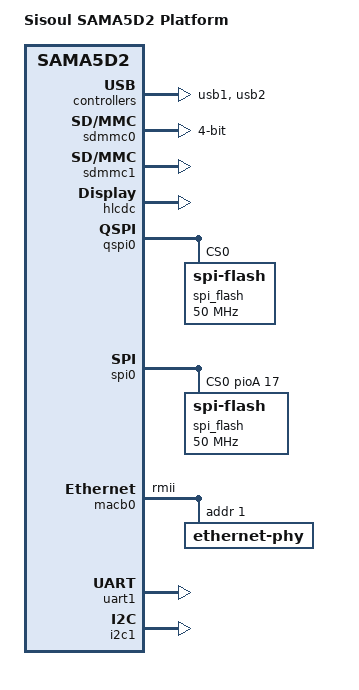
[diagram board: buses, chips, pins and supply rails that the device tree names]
/dts-v1/;
#include "sama5d2.dtsi"
#include "sama5d2-pinfunc.h"

/ {
	model = "Sisoul SAMA5D2 Platform";
	compatible = "sisoul,sama5d2-platform", "atmel,sama5d2", "atmel,sama5";

	chosen {
		u-boot,dm-pre-reloc;
		stdout-path = &uart1;
	};

	ahb {
		usb1: ohci@00400000 {
			num-ports = <3>;
			atmel,vbus-gpio = <&pioA 22 0>;
			pinctrl-names = "default";
			pinctrl-0 = <&pinctrl_usb_default>;
			status = "okay";
		};

		usb2: ehci@00500000 {
			status = "okay";
		};

		sdmmc0: sdio-host@a0000000 {
			bus-width = <4>;
			pinctrl-names = "default";
			pinctrl-0 = <&pinctrl_sdmmc0_cmd_dat_default &pinctrl_sdmmc0_ck_cd_default>;
			status = "okay";
			u-boot,dm-pre-reloc;
		};

		sdmmc1: sdio-host@b0000000 {
			status = "okay"; /* conflict with qspi0 */
		};

		apb {
			hlcdc: hlcdc@f0000000 {
				atmel,vl-bpix = <5>;
				atmel,guard-time = <1>;
				pinctrl-names = "default";
				pinctrl-0 = <&pinctrl_lcd_base &pinctrl_lcd_pwm &pinctrl_lcd_rgb888>;
				status = "okay";
				u-boot,dm-pre-reloc;

				display-timings {
					u-boot,dm-pre-reloc;
					480x272 {
						clock-frequency = <9000000>;
						hactive = <480>;
						vactive = <272>;
						hsync-len = <41>;
						hfront-porch = <2>;
						hback-porch = <2>;
						vfront-porch = <2>;
						vback-porch = <2>;
						vsync-len = <11>;
						u-boot,dm-pre-reloc;
					};
				};
			};

			qspi0: spi@f0020000 {
				pinctrl-names = "default";
				pinctrl-0 = <&pinctrl_qspi0_sck_cs_default &pinctrl_qspi0_dat_default>;
				status = "okay";
				u-boot,dm-pre-reloc;

				spi_flash@0 {
					compatible = "spi-flash";
					reg = <0>;
					spi-max-frequency = <50000000>;
					spi-rx-bus-width = <4>;
					spi-tx-bus-width = <4>;
					u-boot,dm-pre-reloc;
				};
			};

			spi0: spi@f8000000 {
				cs-gpios = <&pioA 17 0>, <0>, <0>, <0>;
				pinctrl-names = "default";
				pinctrl-0 = <&pinctrl_spi0_default>;
				status = "okay";
				u-boot,dm-pre-reloc;

				spi_flash@0 {
					compatible = "spi-flash";
					reg = <0>;
					spi-max-frequency = <50000000>;
					u-boot,dm-pre-reloc;
				};
			};

			macb0: ethernet@f8008000 {
				pinctrl-names = "default";
				pinctrl-0 = <&pinctrl_macb0_rmii &pinctrl_macb0_phy_irq>;
				phy-mode = "rmii";
				status = "okay";

				ethernet-phy@1 {
					reg = <0x1>;
				};
			};

			uart1: serial@f8020000 {
				pinctrl-names = "default";
				pinctrl-0 = <&pinctrl_uart1_default>;
				status = "okay";
				u-boot,dm-pre-reloc;
			};

			i2c1: i2c@fc028000 {
				pinctrl-names = "default";
				pinctrl-0 = <&pinctrl_i2c1_default>;
				status = "okay";
			};

			pioA: gpio@fc038000 {
				pinctrl {
					pinctrl_i2c1_default: i2c1_default {
						pinmux = <PIN_PD4__TWD1>,
							 <PIN_PD5__TWCK1>;
						bias-disable;
					};

					pinctrl_lcd_base: pinctrl_lcd_base {
						pinmux = <PIN_PC4__LCDDISP>,
                            <PIN_PC5__LCDVSYNC>,
							<PIN_PC6__LCDHSYNC>,
							<PIN_PC8__LCDDEN>,
							<PIN_PC7__LCDPCK>;
						bias-disable;
					};

					pinctrl_lcd_pwm: pinctrl_lcd_pwm {
						pinmux = <PIN_PC3__LCDPWM>;
						bias-disable;
					};

					pinctrl_lcd_rgb888: pinctrl_lcd_rgb888 {
						pinmux = <PIN_PB11__LCDDAT0>,
                            <PIN_PB12__LCDDAT1>,
                            <PIN_PB13__LCDDAT2>,
                            <PIN_PB14__LCDDAT3>,
                            <PIN_PB15__LCDDAT4>,
                            <PIN_PB16__LCDDAT5>,
                            <PIN_PB17__LCDDAT6>,
                            <PIN_PB18__LCDDAT7>,
                            <PIN_PB19__LCDDAT8>,
                            <PIN_PB20__LCDDAT9>,
                            <PIN_PB21__LCDDAT10>,
                            <PIN_PB22__LCDDAT11>,
                            <PIN_PB23__LCDDAT12>,
                            <PIN_PB24__LCDDAT13>,
                            <PIN_PB25__LCDDAT14>,
                            <PIN_PB26__LCDDAT15>,
                            <PIN_PB27__LCDDAT16>,
                            <PIN_PB28__LCDDAT17>,
                            <PIN_PB29__LCDDAT18>,
                            <PIN_PB30__LCDDAT19>,
                            <PIN_PB31__LCDDAT20>,
                            <PIN_PC0__LCDDAT21>,
                            <PIN_PC1__LCDDAT22>,
                            <PIN_PC2__LCDDAT23>;
						bias-disable;
					};

					pinctrl_macb0_phy_irq: macb0_phy_irq {
						pinmux = <PIN_PC9__GPIO>;
						bias-disable;
					};

					pinctrl_macb0_rmii: macb0_rmii {
						pinmux = <PIN_PC10__GTXCK>,
							 <PIN_PC11__GTXEN>,
							 <PIN_PC12__GRXDV>,
							 <PIN_PC13__GRXER>,
							 <PIN_PC14__GRX0>,
							 <PIN_PC15__GRX1>,
							 <PIN_PC16__GTX0>,
							 <PIN_PC17__GTX1>,
							 <PIN_PC18__GMDC>,
							 <PIN_PC19__GMDIO>;
						bias-disable;
					};

					pinctrl_qspi0_sck_cs_default: qspi0_sck_cs_default {
						pinmux = <PIN_PA22__QSPI0_SCK>,
							 <PIN_PA23__QSPI0_CS>;
						bias-disable;
						u-boot,dm-pre-reloc;
					};

					pinctrl_qspi0_dat_default: qspi0_dat_default {
						pinmux = <PIN_PA24__QSPI0_IO0>,
							 <PIN_PA25__QSPI0_IO1>,
							 <PIN_PA26__QSPI0_IO2>,
							 <PIN_PA27__QSPI0_IO3>;
						bias-pull-up;
						u-boot,dm-pre-reloc;
					};

					pinctrl_sdmmc0_cmd_dat_default: sdmmc0_cmd_dat_default {
						pinmux = <PIN_PA1__SDMMC0_CMD>,
							 <PIN_PA2__SDMMC0_DAT0>,
							 <PIN_PA3__SDMMC0_DAT1>,
							 <PIN_PA4__SDMMC0_DAT2>,
							 <PIN_PA5__SDMMC0_DAT3>;
						bias-pull-up;
						u-boot,dm-pre-reloc;
					};

					pinctrl_sdmmc0_ck_cd_default: sdmmc0_ck_cd_default {
						pinmux = <PIN_PA0__SDMMC0_CK>,
							 <PIN_PA10__SDMMC0_RSTN>,
							 <PIN_PA11__SDMMC0_VDDSEL>,
							 <PIN_PA13__SDMMC0_CD>;
						bias-disable;
						u-boot,dm-pre-reloc;
					};

					pinctrl_sdmmc1_cmd_dat_default: sdmmc1_cmd_dat_default {
						pinmux = <PIN_PA28__SDMMC1_CMD>,
							 <PIN_PA18__SDMMC1_DAT0>,
							 <PIN_PA19__SDMMC1_DAT1>,
							 <PIN_PA20__SDMMC1_DAT2>,
							 <PIN_PA21__SDMMC1_DAT3>;
						bias-pull-up;
						u-boot,dm-pre-reloc;
					};

					pinctrl_sdmmc1_ck_cd_default: sdmmc1_ck_cd_default {
						pinmux = <PIN_PA22__SDMMC1_CK>,
							 <PIN_PA30__SDMMC1_CD>;
						bias-disable;
						u-boot,dm-pre-reloc;
					};

					pinctrl_spi0_default: spi0_default {
						pinmux = <PIN_PA14__SPI0_SPCK>,
							 <PIN_PA15__SPI0_MOSI>,
							 <PIN_PA16__SPI0_MISO>;
						bias-disable;
						u-boot,dm-pre-reloc;
					};

					pinctrl_uart1_default: uart1_default {
						pinmux = <PIN_PD2__URXD1>,
							 <PIN_PD3__UTXD1>;
						bias-disable;
						u-boot,dm-pre-reloc;
					};

					pinctrl_usb_default: usb_default {
						pinmux = <PIN_PA22__GPIO>;
						bias-disable;
					};

					pinctrl_usba_vbus: usba_vbus {
						pinmux = <PIN_PA22__GPIO>;
						bias-disable;
					};
				};
			};
		};
	};
};
